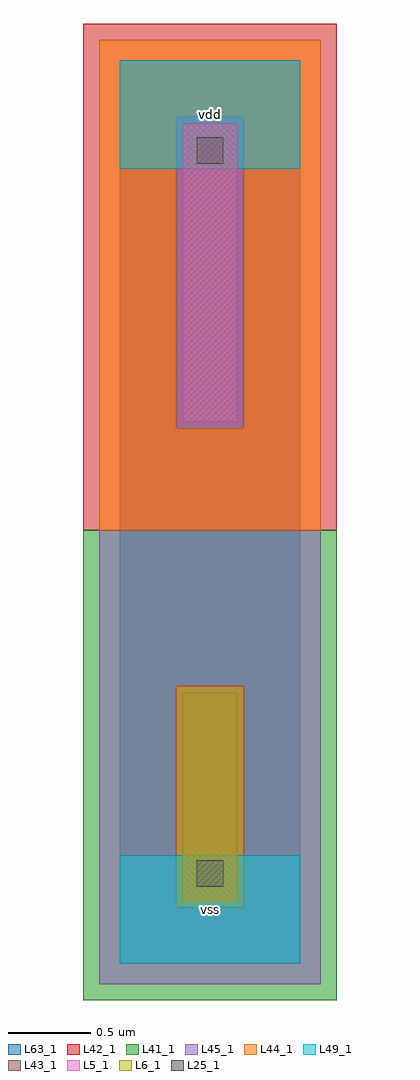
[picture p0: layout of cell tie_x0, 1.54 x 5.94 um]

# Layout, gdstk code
import gdstk
lib = gdstk.Library(unit=1e-6, precision=1e-09)
def R(c, l, rs):  # rectangles x0, y0, x1, y1
    for r in rs: c.add(gdstk.rectangle(r[:2], r[2:], *l))
L5_1 = (5, 1)
L6_1 = (6, 1)
L25_1 = (25, 1)
L41_1 = (41, 1)
L42_1 = (42, 1)
L43_1 = (43, 1)
L44_1 = (44, 1)
L45_1 = (45, 1)
L49_1 = (49, 1)
L63_1 = (63, 1)

tie_x0 = lib.new_cell('tie_x0')
R(tie_x0, L5_1, [(0.385,3.3,0.715,5.115)])
R(tie_x0, L6_1, [(0.385,0.385,0.715,1.65)])
R(tie_x0, L25_1, [(0.47,0.47,0.63,0.63), (0.47,4.87,0.63,5.03)])
R(tie_x0, L41_1, [(-0.22,-0.22,1.32,2.64)])
R(tie_x0, L42_1, [(-0.22,2.64,1.32,5.72)])
R(tie_x0, L43_1, [(0.385,0.385,0.715,1.65), (0.385,3.3,0.715,5.115)])
R(tie_x0, L44_1, [(0.345,0.345,0.755,1.69), (-0.125,2.64,1.225,3.26), (-0.125,3.26,0.345,5.155), (0.755,3.26,1.225,5.155), (-0.125,5.155,1.225,5.625)])
R(tie_x0, L45_1, [(-0.125,-0.125,1.225,0.345), (-0.125,0.345,0.345,1.69), (0.755,0.345,1.225,1.69), (-0.125,1.69,1.225,2.64), (0.345,3.26,0.755,5.155)])
R(tie_x0, L49_1, [(0,0,1.1,0.66), (0,4.84,1.1,5.5)])
R(tie_x0, L63_1, [(0,0,1.1,5.5)])
tie_x0.add(gdstk.Label('vss', (0.55,0.33), layer=49, texttype=1))
tie_x0.add(gdstk.Label('vdd', (0.55,5.17), layer=49, texttype=1))

lib.write_gds('tie_x0.gds')
